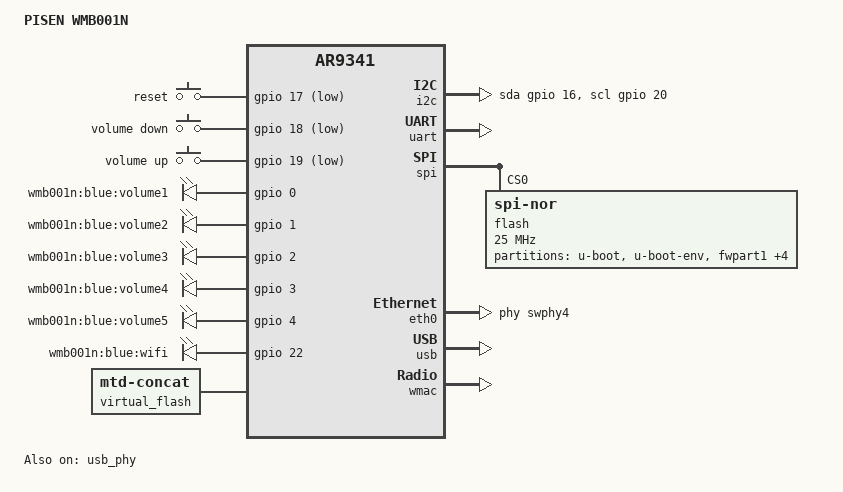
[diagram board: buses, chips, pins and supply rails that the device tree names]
// SPDX-License-Identifier: GPL-2.0-or-later OR MIT
/dts-v1/;

#include <dt-bindings/gpio/gpio.h>
#include <dt-bindings/input/input.h>

#include "ar9341.dtsi"

/ {
	model = "PISEN WMB001N";
	compatible = "pisen,wmb001n", "qca,ar9341";

	aliases {
		serial0 = &uart;
		led-boot = &led_wifi;
		led-failsafe = &led_wifi;
		led-running = &led_wifi;
		led-upgrade = &led_wifi;
	};

	i2c {
		compatible = "i2c-gpio";
		pinctrl-names = "default";
		pinctrl-0 = <&pmx_i2c_gpio &pmx_i2s_spdif>;

		sda-gpios = <&gpio 16 (GPIO_ACTIVE_HIGH|GPIO_OPEN_DRAIN)>;
		scl-gpios = <&gpio 20 GPIO_ACTIVE_HIGH>;
		/*
		 * Pull-up resistor for scl is missing on this board.
		 * Following settings trick i2c-gpio to use output mode
		 * instead of open-drain for scl.
		 */
		i2c-gpio,scl-output-only;
		i2c-gpio,scl-open-drain;
	};

	keys {
		compatible = "gpio-keys";

		reset {
			label = "reset";
			linux,code = <KEY_RESTART>;
			gpios = <&gpio 17 GPIO_ACTIVE_LOW>;
			debounce-interval = <60>;
		};

		vol_down {
			label = "volume down";
			linux,code = <KEY_VOLUMEDOWN>;
			gpios = <&gpio 18 GPIO_ACTIVE_LOW>;
			debounce-interval = <60>;
		};

		vol_up {
			label = "volume up";
			linux,code = <KEY_VOLUMEUP>;
			gpios = <&gpio 19 GPIO_ACTIVE_LOW>;
			debounce-interval = <60>;
		};
	};

	leds {
		compatible = "gpio-leds";
		pinctrl-names = "default";
		pinctrl-0 = <&jtag_disable_pins>;

		volume1 {
			label = "wmb001n:blue:volume1";
			gpios = <&gpio 0 GPIO_ACTIVE_HIGH>;
		};

		volume2 {
			label = "wmb001n:blue:volume2";
			gpios = <&gpio 1 GPIO_ACTIVE_HIGH>;
		};

		volume3 {
			label = "wmb001n:blue:volume3";
			gpios = <&gpio 2 GPIO_ACTIVE_HIGH>;
		};

		volume4 {
			label = "wmb001n:blue:volume4";
			gpios = <&gpio 3 GPIO_ACTIVE_HIGH>;
		};

		volume5 {
			label = "wmb001n:blue:volume5";
			gpios = <&gpio 4 GPIO_ACTIVE_HIGH>;
		};

		led_wifi: wifi {
			label = "wmb001n:blue:wifi";
			gpios = <&gpio 22 GPIO_ACTIVE_HIGH>;
		};
	};

	virtual_flash {
		compatible = "mtd-concat";
		devices = <&fwpart1 &fwpart2>;

		partitions {
			compatible = "fixed-partitions";
			#address-cells = <1>;
			#size-cells = <1>;

			partition@0 {
				reg = <0x0 0x0>;
				label = "firmware";
				compatible = "openwrt,okli";
			};
		};
	};
};

&pinmux {
	pmx_i2c_gpio: pinmux_i2c_gpio {
		pinctrl-single,bits = <0x10 0x0 0xff>,
				      <0x14 0x0 0xff>;
	};

	pmx_i2s_spdif: pinmux_i2s_spdif {
		pinctrl-single,bits = <0x8 0x0e000000 0xff000000>,
				      <0xc 0x0f0c0d 0xffffff>,
				      <0x14 0x1900 0xff00>;
	};
};

&ref {
	clock-frequency = <25000000>;
};

&uart {
	status = "okay";
};

&spi {
	num-cs = <1>;

	status = "okay";

	flash@0 {
		compatible = "jedec,spi-nor";
		reg = <0>;
		spi-max-frequency = <25000000>;

		partitions {
			compatible = "fixed-partitions";
			#address-cells = <1>;
			#size-cells = <1>;

			uboot: partition@0 {
				label = "u-boot";
				reg = <0x0 0x10000>;
				read-only;
			};

			partition@10000 {
				label = "u-boot-env";
				reg = <0x10000 0x10000>;
				read-only;
			};

			fwpart1: partition@20000 {
				label = "fwpart1";
				reg = <0x20000 0xdc0000>;
			};

			partition@de0000 {
				label = "loader";
				reg = <0xde0000 0x10000>;
			};

			fwpart2: partition@df0000 {
				label = "fwpart2";
				reg = <0xdf0000 0x1f0000>;
			};

			partition@fe0000 {
				label = "mib0";
				reg = <0xfe0000 0x10000>;
				read-only;
			};

			art: partition@ff0000 {
				label = "art";
				reg = <0xff0000 0x10000>;
				read-only;
			};
		};
	};
};

&eth0 {
	status = "okay";
	phy-handle = <&swphy4>;
	mtd-mac-address = <&art 0x0>;
};

&eth1 {
	compatible = "syscon", "simple-mfd";
	status = "okay";

	gmac-config {
		device = <&gmac>;
		switch-phy-swap = <0>;
	};
};

&usb {
	status = "okay";
};

&usb_phy {
	status = "okay";
};

&wmac {
	status = "okay";
	mtd-cal-data = <&art 0x1000>;
};
